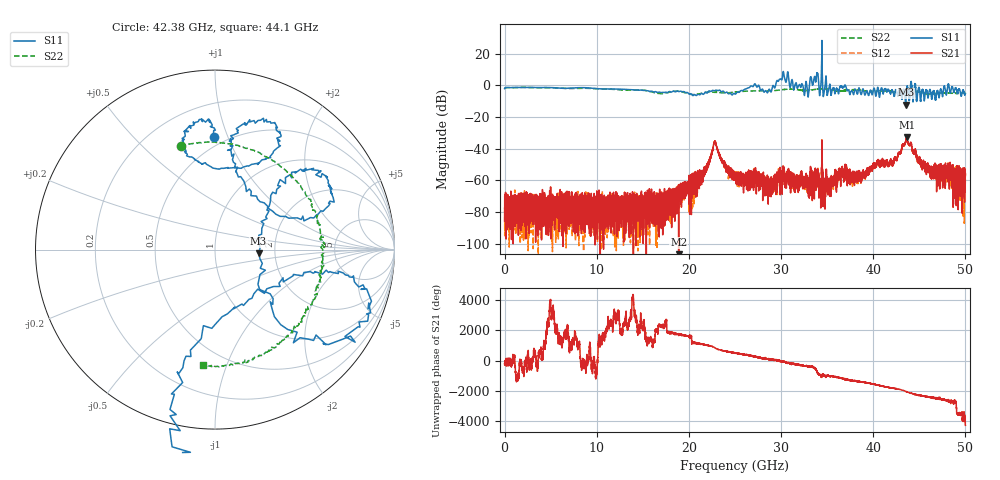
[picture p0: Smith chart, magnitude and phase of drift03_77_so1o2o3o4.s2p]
!Created with skrf (http://scikit-rf.org).
# Hz S RI R 50.0
!freq ReS11 ImS11 ReS21 ImS21 ReS12 ImS12 ReS22 ImS22
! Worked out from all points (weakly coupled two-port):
!   10000 points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, 5.3 MHz to 50 GHz, reference 50 ohm
!   highest |S21| = -32.95 dB at 43.64 GHz (marker M1); lowest = -114.1 dB at 18.89 GHz (marker M2)
!   lowest |S11| = -12.3 dB at 43.53 GHz (marker M3), VSWR 1.64, Z = 81.9 - j3.73 ohm
!   |S11| at or under -10 dB: 43.48287 GHz to 43.55669 GHz (73.82 MHz wide, 0.17 % of centre); 44.3126 GHz to 44.31975 GHz (7.151 MHz wide, 0.0161 % of centre); 44.32802 GHz to 44.33064 GHz (2.619 MHz wide, 0.00591 % of centre) (the widest 3 of 6)
!   |S22| runs from -5.9 to -1.3 dB; largest |S21 - S12| = 0.0088
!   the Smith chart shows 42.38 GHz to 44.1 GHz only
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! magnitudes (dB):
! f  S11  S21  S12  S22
! 5.3 MHz  -2.1  -86.1  -77.3  -2.1
! 8.34 GHz  -1.5  -93.7  -91.8  -1.9
! 16.67 GHz  -4.4  -79.4  -84.4  -5.1
! 18.89 GHz  -4.0  -114.1  -68.0  -3.8
! 21.45 GHz  -5.2  -53.7  -57.0  -4.9
! 22.82 GHz  -3.4  -35.4  -35.4  -4.4
! 23.76 GHz  -3.8  -48.9  -48.1  -4.8
! 25.01 GHz  -5.5  -59.8  -55.2  -4.3
! 27.02 GHz  -0.4  -66.3  -55.1  -3.5
! 28.84 GHz  -3.6  -64.2  -67.0  -3.5
! 30.14 GHz  4.5  -59.8  -54.8  -2.8
! 32.74 GHz  2.0  -59.1  -61.5  -3.4
! 33.34 GHz  2.5  -65.1  -59.0  -2.9
! 33.82 GHz  4.0  -63.2  -62.6  -2.6
! 34.94 GHz  -0.6  -56.3  -58.3  -2.4
! 36.47 GHz  -0.6  -63.9  -56.4  -3.6
! 38.1 GHz  -2.7  -57.5  -59.9  -2.8
! 41.67 GHz  -2.9  -49.9  -50.0  -3.7
! 43.53 GHz  -12.3  -35.7  -35.4  -4.3
! 43.64 GHz  -1.8  -33.0  -33.4  -4.0
! 46.35 GHz  -8.3  -52.6  -55.4  -5.5
! 50 GHz  -5.2  -56.7  -59.1  -4.9
